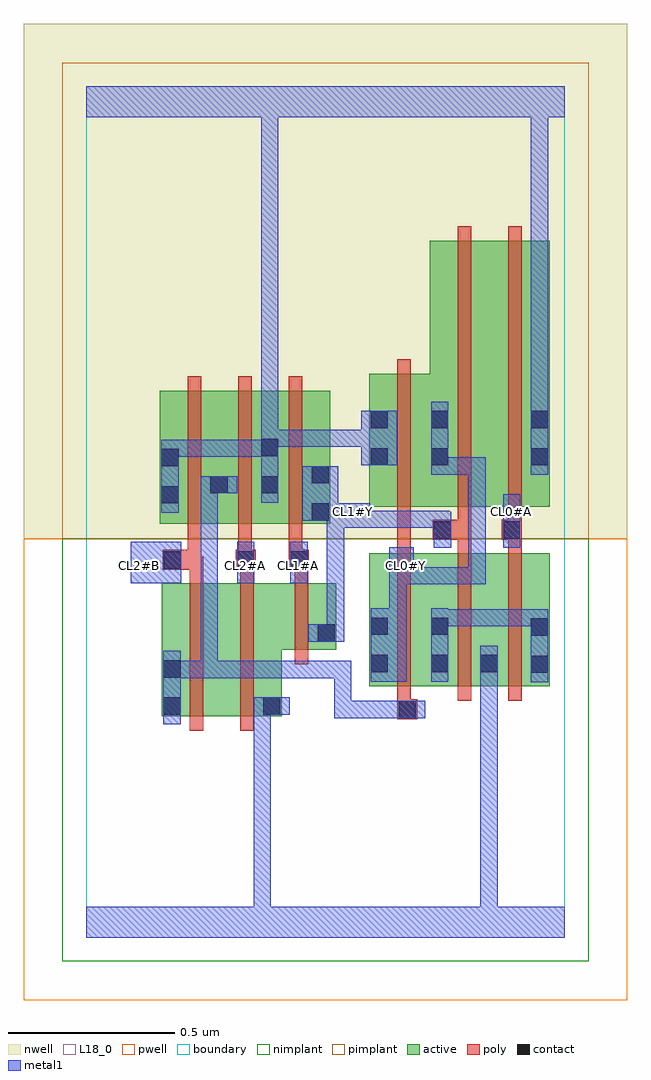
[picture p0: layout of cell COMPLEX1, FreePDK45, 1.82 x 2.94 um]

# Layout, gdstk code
import gdstk
lib = gdstk.Library(unit=1e-6, precision=1e-09)
def R(c, l, rs):  # rectangles x0, y0, x1, y1
    for r in rs: c.add(gdstk.rectangle(r[:2], r[2:], *l))
def A(c, l, x, y, w, h, nx, ny, dx, dy):  # array of equal rectangles
    R(c, l, [(x+i*dx, y+j*dy, x+i*dx+w, y+j*dy+h) for i in range(nx) for j in range(ny)])
active = (1, 0)
pwell = (2, 0)
nwell = (3, 0)
nimplant = (4, 0)
pimplant = (5, 0)
poly = (9, 0)
contact = (10, 0)
metal1 = (11, 0)
L18_0 = (18, 0)
boundary = (235, 0)

complex1 = lib.new_cell('COMPLEX1')
R(complex1, active, [(0.228,0.666,0.288,1.066), (0.228,0.666,0.408,1.066), (0.408,0.666,0.588,1.066), (0.528,0.666,0.588,0.956), (0.852,0.756,0.912,1.156), (0.852,0.756,1.094,1.156), (1.034,0.756,1.242,1.156), (1.034,0.756,1.094,0.966), (1.182,0.756,1.394,1.156), (1.182,0.756,1.242,0.928), (1.334,0.756,1.394,1.156), (0.528,0.866,0.752,1.066), (0.692,0.866,0.752,1.066), (0.222,1.244,0.282,1.644), (0.222,1.244,0.43,1.644), (0.37,1.244,0.582,1.644), (0.522,1.244,0.734,1.644), (0.674,1.244,0.734,1.644), (0.852,1.296,1.094,1.696), (0.852,1.296,0.912,1.644), (1.034,1.296,1.214,2.096), (1.214,1.296,1.394,2.096), (1.334,1.296,1.394,2.044), (0.37,1.332,0.43,1.644), (0.522,1.332,0.582,1.644), (1.034,1.416,1.094,1.644)])
R(complex1, pwell, [(-0.188,-0.188,1.628,1.2)])
R(complex1, nwell, [(-0.188,1.2,1.628,2.748)])
R(complex1, nimplant, [(-0.072,-0.072,1.512,1.2)])
R(complex1, pimplant, [(-0.072,1.2,1.512,2.632)])
A(complex1, poly, 0.306, 1.126, 0.04, 0.114, 3, 1, 0.152, 0)
A(complex1, poly, 0.306, 1.2, 0.04, 0.488, 3, 1, 0.152, 0)
R(complex1, poly, [(0.312,0.622,0.352,1.11), (0.464,0.622,0.504,1.11), (0.936,0.656,0.996,0.716), (0.936,0.676,0.976,0.752), (0.936,0.712,0.976,1.2), (1.118,0.712,1.158,1.2), (1.27,0.712,1.31,1.2), (0.628,0.822,0.668,1.11), (0.312,1.07,0.352,1.146), (0.464,1.07,0.504,1.146), (0.628,1.07,0.668,1.146), (0.23,1.106,0.346,1.166), (0.306,1.106,0.346,1.146), (0.306,1.106,0.352,1.146), (0.45,1.106,0.51,1.166), (0.61,1.106,0.67,1.166), (0.458,1.126,0.498,1.166), (0.458,1.126,0.498,1.166), (0.61,1.126,0.65,1.166), (0.61,1.126,0.65,1.166), (0.936,1.16,0.976,1.236), (1.118,1.16,1.158,1.236), (1.27,1.16,1.31,1.236), (0.936,1.196,0.976,1.236), (0.936,1.196,0.976,1.236), (0.936,1.196,0.976,1.236), (0.936,1.196,0.976,1.292), (1.042,1.196,1.158,1.256), (1.118,1.196,1.158,1.236), (1.118,1.196,1.158,1.236), (1.25,1.196,1.31,1.256), (1.27,1.196,1.31,1.236), (1.27,1.196,1.31,1.236), (1.118,1.216,1.158,1.292), (1.27,1.216,1.31,1.292), (0.936,1.252,0.976,1.74), (1.118,1.252,1.158,2.14), (1.27,1.252,1.31,2.14)])
R(complex1, contact, [(0.94,0.66,0.992,0.712), (0.232,0.67,0.284,0.722), (0.532,0.67,0.584,0.722), (0.232,0.782,0.284,0.834), (1.338,0.796,1.39,0.848), (0.856,0.798,0.908,0.85), (1.038,0.798,1.09,0.85), (1.186,0.798,1.238,0.85), (0.696,0.89,0.748,0.942), (1.338,0.908,1.39,0.96), (0.856,0.91,0.908,0.962), (1.038,0.91,1.09,0.962), (0.234,1.11,0.286,1.162), (0.454,1.11,0.506,1.162), (0.614,1.11,0.666,1.162), (1.046,1.2,1.098,1.252), (1.254,1.2,1.306,1.252), (0.678,1.254,0.73,1.306), (0.226,1.306,0.278,1.358), (0.374,1.336,0.426,1.388), (0.526,1.336,0.578,1.388), (0.678,1.366,0.73,1.418), (0.226,1.418,0.278,1.47), (0.856,1.42,0.908,1.472), (1.038,1.42,1.09,1.472), (1.338,1.42,1.39,1.472), (0.526,1.448,0.578,1.5), (0.856,1.532,0.908,1.584), (1.038,1.532,1.09,1.584), (1.338,1.532,1.39,1.584)])
R(complex1, metal1, [(0,0,1.44,0.092), (0.504,0.04,0.556,0.092), (0.504,0.04,0.556,0.092), (0.504,0.04,0.556,0.092), (0.504,0.04,0.556,0.092), (0.504,0.04,0.556,0.092), (0.504,0.04,0.556,0.092), (0.504,0.04,0.556,0.092), (0.504,0.04,0.556,0.092), (0.504,0.04,0.556,0.092), (0.504,0.04,0.556,0.092), (0.504,0.04,0.556,0.092), (0.504,0.04,0.556,0.092), (0.504,0.04,0.556,0.722), (1.186,0.04,1.238,0.092), (1.186,0.04,1.238,0.092), (1.186,0.04,1.238,0.092), (1.186,0.04,1.238,0.092), (1.186,0.04,1.238,0.092), (1.186,0.04,1.238,0.092), (1.186,0.04,1.238,0.092), (1.186,0.04,1.238,0.092), (1.186,0.04,1.238,0.822), (0.232,0.642,0.284,0.862), (0.746,0.66,0.798,0.712), (0.746,0.66,0.798,0.712), (0.746,0.66,0.798,0.712), (0.746,0.66,0.798,0.712), (0.746,0.66,0.798,0.712), (0.746,0.66,0.798,0.712), (0.746,0.66,0.798,0.712), (0.746,0.66,0.964,0.712), (0.746,0.66,0.798,0.832), (0.912,0.66,1.02,0.712), (0.504,0.67,0.612,0.722), (1.338,0.768,1.39,0.988), (0.856,0.77,0.964,0.99), (1.038,0.77,1.09,0.99), (1.186,0.77,1.238,0.822), (1.186,0.77,1.238,0.822), (1.186,0.77,1.238,0.822), (1.186,0.77,1.238,0.822), (1.186,0.77,1.238,0.878), (0.232,0.78,0.284,0.832), (0.232,0.78,0.284,0.832), (0.232,0.78,0.396,0.832), (0.344,0.78,0.396,0.832), (0.344,0.78,0.396,0.832), (0.344,0.78,0.396,0.832), (0.344,0.78,0.396,0.832), (0.344,0.78,0.396,0.832), (0.344,0.78,0.508,0.832), (0.344,0.78,0.396,1.388), (0.456,0.78,0.508,0.832), (0.456,0.78,0.508,0.832), (0.456,0.78,0.508,0.832), (0.456,0.78,0.508,0.832), (0.456,0.78,0.508,0.832), (0.456,0.78,0.798,0.832), (0.746,0.78,0.798,0.832), (0.668,0.89,0.776,0.942), (0.724,0.89,0.776,1.306), (1.038,0.936,1.196,0.988), (1.144,0.936,1.196,0.988), (1.144,0.936,1.28,0.988), (1.228,0.936,1.28,0.988), (1.228,0.936,1.39,0.988), (1.338,0.936,1.39,0.988), (1.338,0.936,1.39,0.988), (0.912,0.938,0.964,1.114), (0.912,1.062,0.986,1.174), (0.934,1.062,0.986,1.114), (0.934,1.062,0.986,1.114), (0.934,1.062,1.094,1.114), (1.042,1.062,1.094,1.114), (1.042,1.062,1.196,1.114), (1.144,1.062,1.196,1.114), (1.144,1.062,1.202,1.114), (1.15,1.062,1.202,1.114), (1.15,1.062,1.202,1.444), (0.134,1.066,0.286,1.19), (0.454,1.066,0.506,1.19), (0.614,1.066,0.666,1.19), (1.046,1.172,1.098,1.28), (1.254,1.172,1.306,1.334), (1.042,1.228,1.098,1.28), (1.042,1.228,1.094,1.284), (0.724,1.232,0.988,1.284), (0.724,1.232,0.776,1.306), (0.936,1.232,0.988,1.284), (0.936,1.232,1.094,1.284), (0.65,1.254,0.758,1.418), (0.706,1.254,0.758,1.306), (0.706,1.254,0.776,1.306), (0.724,1.254,0.776,1.306), (0.724,1.254,0.776,1.306), (0.724,1.254,0.854,1.306), (0.226,1.278,0.278,1.498), (0.526,1.308,0.578,1.528), (0.344,1.336,0.398,1.388), (0.346,1.336,0.398,1.388), (0.346,1.336,0.454,1.388), (1.038,1.392,1.09,1.612), (1.038,1.392,1.196,1.444), (1.144,1.392,1.196,1.444), (1.144,1.392,1.202,1.444), (1.15,1.392,1.202,1.444), (1.15,1.392,1.202,1.444), (1.15,1.392,1.202,1.444), (1.338,1.392,1.39,1.612), (0.828,1.42,0.936,1.584), (0.226,1.446,0.278,1.498), (0.226,1.446,0.278,1.498), (0.226,1.446,0.396,1.498), (0.344,1.446,0.396,1.498), (0.344,1.446,0.396,1.498), (0.344,1.446,0.396,1.498), (0.344,1.446,0.578,1.498), (0.526,1.476,0.578,1.528), (0.526,1.476,0.578,1.528), (0.526,1.476,0.578,1.528), (0.526,1.476,0.578,1.528), (0.526,1.476,0.578,1.528), (0.526,1.476,0.578,1.528), (0.526,1.476,0.688,1.528), (0.526,1.476,0.578,2.52), (0.636,1.476,0.688,1.528), (0.636,1.476,0.88,1.528), (1.338,1.56,1.39,2.52), (0,2.468,1.44,2.56), (0.526,2.468,0.578,2.52), (0.526,2.468,0.578,2.52), (0.526,2.468,0.578,2.52), (0.526,2.468,0.578,2.52), (0.526,2.468,0.578,2.52), (0.526,2.468,0.578,2.52), (0.526,2.468,0.578,2.52), (0.526,2.468,0.578,2.52), (0.526,2.468,0.578,2.52), (0.526,2.468,0.578,2.52), (0.526,2.468,0.578,2.52), (0.526,2.468,0.578,2.52), (1.338,2.468,1.39,2.52), (1.338,2.468,1.39,2.52), (1.338,2.468,1.39,2.52), (1.338,2.468,1.39,2.52), (1.338,2.468,1.39,2.52), (1.338,2.468,1.39,2.52), (1.338,2.468,1.39,2.52), (1.338,2.468,1.39,2.52)])
R(complex1, L18_0, [(0,0,1.44,0.092), (0.504,0.04,0.556,0.092), (0.504,0.04,0.556,0.092), (0.504,0.04,0.556,0.092), (0.504,0.04,0.556,0.092), (0.504,0.04,0.556,0.092), (0.504,0.04,0.556,0.092), (0.504,0.04,0.556,0.092), (0.504,0.04,0.556,0.092), (0.504,0.04,0.556,0.092), (0.504,0.04,0.556,0.092), (0.504,0.04,0.556,0.092), (0.504,0.04,0.556,0.092), (0.504,0.04,0.556,0.722), (1.186,0.04,1.238,0.092), (1.186,0.04,1.238,0.092), (1.186,0.04,1.238,0.092), (1.186,0.04,1.238,0.092), (1.186,0.04,1.238,0.092), (1.186,0.04,1.238,0.092), (1.186,0.04,1.238,0.092), (1.186,0.04,1.238,0.092), (1.186,0.04,1.238,0.822), (0.504,0.67,0.612,0.722), (0.856,0.77,0.964,0.99), (1.186,0.77,1.238,0.822), (1.186,0.77,1.238,0.822), (1.186,0.77,1.238,0.822), (1.186,0.77,1.238,0.822), (1.186,0.77,1.238,0.878), (0.668,0.89,0.776,0.942), (0.724,0.89,0.776,1.306), (0.912,0.938,0.964,1.114), (0.912,1.062,0.986,1.174), (0.934,1.062,0.986,1.114), (0.934,1.062,0.986,1.114), (0.934,1.062,1.094,1.114), (1.042,1.062,1.094,1.114), (1.042,1.062,1.196,1.114), (1.144,1.062,1.196,1.114), (1.144,1.062,1.202,1.114), (1.15,1.062,1.202,1.114), (1.15,1.062,1.202,1.444), (0.134,1.066,0.286,1.19), (0.454,1.066,0.506,1.19), (0.614,1.066,0.666,1.19), (0.134,1.094,0.186,1.146), (0.454,1.094,0.506,1.146), (0.614,1.094,0.666,1.146), (0.934,1.094,0.986,1.146), (1.046,1.172,1.098,1.28), (1.254,1.172,1.306,1.334), (1.042,1.228,1.094,1.284), (1.042,1.228,1.098,1.28), (0.724,1.232,0.776,1.306), (0.724,1.232,0.988,1.284), (0.936,1.232,0.988,1.284), (0.936,1.232,1.094,1.284), (0.65,1.254,0.758,1.418), (0.706,1.254,0.758,1.306), (0.706,1.254,0.776,1.306), (0.724,1.254,0.776,1.306), (0.724,1.254,0.776,1.306), (0.724,1.254,0.854,1.306), (0.774,1.254,0.826,1.306), (1.254,1.254,1.306,1.306), (0.226,1.278,0.278,1.498), (0.526,1.308,0.578,1.528), (1.038,1.392,1.09,1.612), (1.038,1.392,1.196,1.444), (1.144,1.392,1.196,1.444), (1.144,1.392,1.202,1.444), (1.15,1.392,1.202,1.444), (1.15,1.392,1.202,1.444), (1.15,1.392,1.202,1.444), (1.338,1.392,1.39,1.612), (0.828,1.42,0.936,1.584), (0.226,1.446,0.278,1.498), (0.226,1.446,0.278,1.498), (0.226,1.446,0.396,1.498), (0.344,1.446,0.396,1.498), (0.344,1.446,0.396,1.498), (0.344,1.446,0.396,1.498), (0.344,1.446,0.578,1.498), (0.526,1.476,0.578,1.528), (0.526,1.476,0.578,1.528), (0.526,1.476,0.578,1.528), (0.526,1.476,0.578,1.528), (0.526,1.476,0.578,1.528), (0.526,1.476,0.578,1.528), (0.526,1.476,0.578,2.52), (0.526,1.476,0.688,1.528), (0.636,1.476,0.688,1.528), (0.636,1.476,0.88,1.528), (1.338,1.56,1.39,2.52), (0,2.468,1.44,2.56), (0.526,2.468,0.578,2.52), (0.526,2.468,0.578,2.52), (0.526,2.468,0.578,2.52), (0.526,2.468,0.578,2.52), (0.526,2.468,0.578,2.52), (0.526,2.468,0.578,2.52), (0.526,2.468,0.578,2.52), (0.526,2.468,0.578,2.52), (0.526,2.468,0.578,2.52), (0.526,2.468,0.578,2.52), (0.526,2.468,0.578,2.52), (0.526,2.468,0.578,2.52), (1.338,2.468,1.39,2.52), (1.338,2.468,1.39,2.52), (1.338,2.468,1.39,2.52), (1.338,2.468,1.39,2.52), (1.338,2.468,1.39,2.52), (1.338,2.468,1.39,2.52), (1.338,2.468,1.39,2.52), (1.338,2.468,1.39,2.52)])
R(complex1, boundary, [(0,0,1.44,2.56)])
complex1.add(gdstk.Label('CL0#A', (1.28,1.28), layer=11, texttype=0))
complex1.add(gdstk.Label('CL0#Y', (0.96,1.12), layer=11, texttype=0))
complex1.add(gdstk.Label('CL1#A', (0.64,1.12), layer=11, texttype=0))
complex1.add(gdstk.Label('CL1#Y', (0.8,1.28), layer=11, texttype=0))
complex1.add(gdstk.Label('CL2#A', (0.48,1.12), layer=11, texttype=0))
complex1.add(gdstk.Label('CL2#B', (0.16,1.12), layer=11, texttype=0))

lib.write_gds('COMPLEX1.gds')
